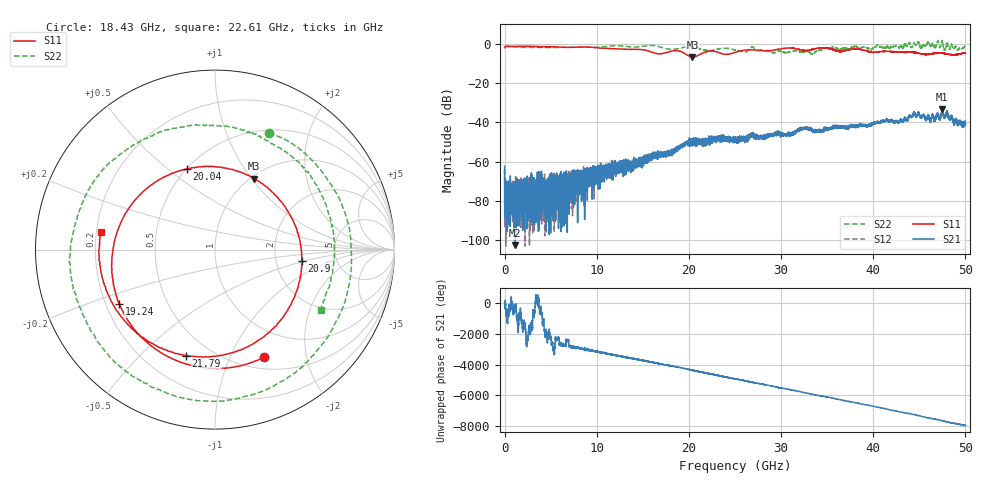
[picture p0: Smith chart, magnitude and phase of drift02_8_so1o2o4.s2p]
!Created with skrf (http://scikit-rf.org).
# Hz S RI R 50.0
!freq ReS11 ImS11 ReS21 ImS21 ReS12 ImS12 ReS22 ImS22
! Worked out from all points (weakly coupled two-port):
!   10001 points, 300 kHz to 50 GHz, reference 50 ohm
!   highest |S21| = -33.27 dB at 47.48 GHz (marker M1); lowest = -102.4 dB at 1.14 GHz (marker M2)
!   lowest |S11| = -6.9 dB at 20.38 GHz (marker M3), VSWR 2.64, Z = 51.6 + j51.3 ohm
!   |S11| at or under -10 dB: nowhere
!   |S22| runs from -5.3 to 1.6 dB; largest |S21 - S12| = 0.0033
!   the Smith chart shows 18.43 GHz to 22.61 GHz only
!   S11 on the Smith chart (normalised r, x): 18.43 GHz: 0.64, -1.36; 19.24 GHz: 0.26, -0.25; 20.04 GHz: 0.50, +0.58; 20.9 GHz: 2.83, -0.45; 21.79 GHz: 0.37, -0.70; 22.61 GHz: 0.22, +0.07
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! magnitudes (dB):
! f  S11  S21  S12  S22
! 300 kHz  -2.1  -62.2  -63.9  -1.3
! 255.3 MHz  -1.4  -73.6  -75.4  -1.4
! 1.14 GHz  -1.5  -102.4  -77.0  -1.6
! 5.44 GHz  -1.6  -70.8  -86.6  -2.0
! 8.335 GHz  -1.7  -69.1  -68.5  -1.9
! 16.67 GHz  -5.2  -58.4  -57.2  -1.4
! 18.43 GHz  -3.6  -54.0  -55.1  -2.9
! 19.24 GHz  -4.2  -51.9  -52.7  -2.2
! 20.04 GHz  -6.4  -51.8  -50.3  -1.5
! 20.38 GHz  -6.9  -49.7  -49.8  -1.7
! 20.9 GHz  -6.2  -50.7  -49.5  -2.2
! 21.79 GHz  -4.3  -50.2  -49.9  -3.5
! 22.61 GHz  -3.8  -49.5  -48.5  -3.4
! 25 GHz  -4.5  -48.6  -48.9  -3.2
! 26.11 GHz  -3.3  -47.1  -48.4  -4.4
! 26.9 GHz  -3.2  -46.0  -46.5  -1.7
! 33.34 GHz  -3.1  -43.4  -43.4  -5.3
! 34.91 GHz  -2.3  -43.4  -43.3  -2.1
! 41.67 GHz  -4.0  -39.1  -39.5  -2.0
! 44.6 GHz  -4.6  -36.5  -36.6  -0.6
! 47.48 GHz  -4.9  -33.3  -33.8  1.3
! 50 GHz  -4.7  -40.5  -39.6  -1.4
